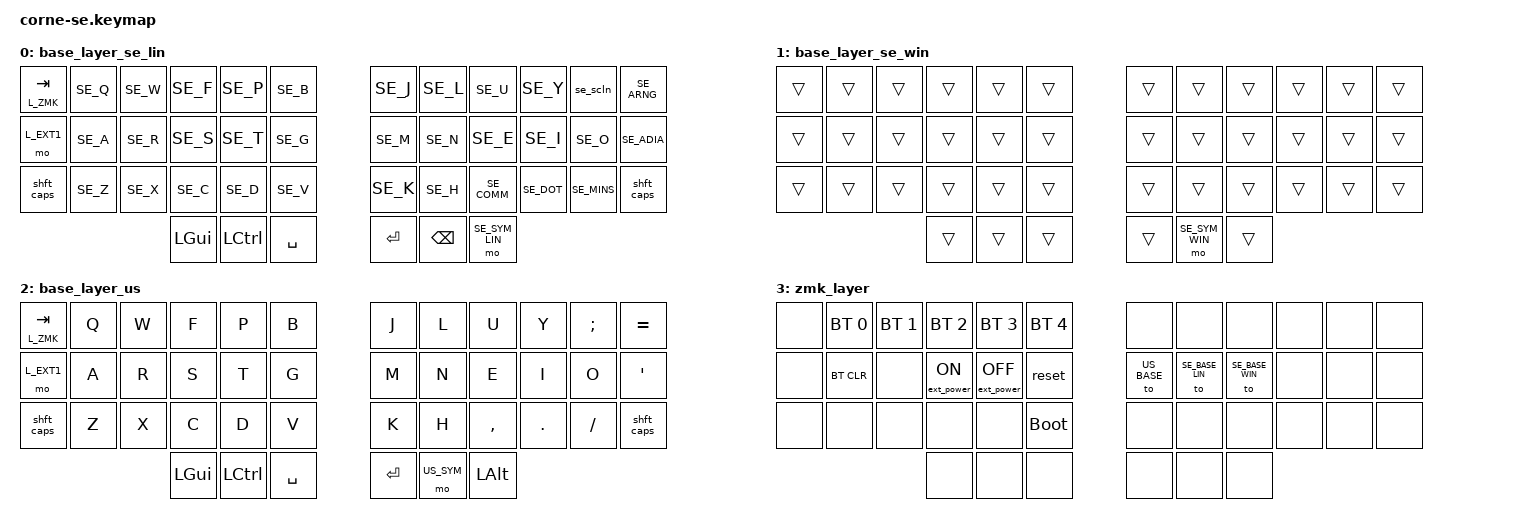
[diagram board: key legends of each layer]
/*
 * Copyright (c) 2020 The ZMK Contributors
 *
 * SPDX-License-Identifier: MIT
 *
 * Credits to https://github.com/bzgec/zmk-config
 *
 ***************************************************************************************************
 * Swedish Colemak-DH angle mode variation
 ***************************************************************************************************
 * Host layout: SE
 * Host layout: US (missing Å, Ä, Ö)
 *
 ***************************************************************************************************
 * Base layer:
 ***************************************************************************************************
 *  +--------+--------+--------+--------+--------+--------+             +--------+--------+--------+--------+--------+--------+
 *  | TAB    |  q  Q  |  w  W  |  f  F  |  p  P  |  b  B  |             |  j  J  |  l  L  |  u  U  |  y  Y  |  ö  Ö  |  å  Å  |
 *  +--------+--------+--------+--------+--------+--------+             +--------+--------+--------+--------+--------+--------+
 *  | EXT1   |  a  A  |  r  R  |  s  S  |  t  T  |  g  G  |             |  m  M  |  n  N  |  e  E  |  i  I  |  o  O  |  ä  Ä  |
 *  +--------+--------+--------+--------+--------+--------+             +--------+--------+--------+--------+--------+--------+
 *  | Shift  |  z  Z  |  x  X  |  c  C  |  d  D  |  v  V  |             |  k  K  |  h  H  |  ,  ;  |  .  :  |  -  _  | Shift  |
 *  +--------+--------+--------+----+---+----+---+----+---+----+   +----+---+----+---+----+---+----+--------+--------+--------+
 *                                  | Win    | Ctrl   | Space  |   | Enter  | SYM    | L Alt  |
 *                                  +--------+--------+--------+   +--------+--------+--------+
 *
 ***************************************************************************************************
 * Symbols layer:
 ***************************************************************************************************
 *  +--------+--------+--------+--------+--------+--------+             +--------+--------+--------+--------+--------+--------+
 *  | TAB    |  1  !  |  2  @  |  3  #  |  4  $  |  5  %  |             |  6  ^  |  7  &  |  8  *  |  9  (  |  0  )  |  -  _  |
 *  +--------+--------+--------+--------+--------+--------+             +--------+--------+--------+--------+--------+--------+
 *  | EXT2   |        |        |        |        |        |             |        |        |  €  °  |  [  {  |  ]  }  |  `  ~  |
 *  +--------+--------+--------+--------+--------+--------+             +--------+--------+--------+--------+--------+--------+
 *  | Shift  |        |        |        |        |        |             |        |        |        |        |  \  |  | Shift  |
 *  +--------+--------+--------+----+---+----+---+----+---+----+   +----+---+----+---+----+---+----+--------+--------+--------+
 *                                  | Win    | Ctrl   | Space  |   | Enter  | XXX    | L Alt  |
 *                                  +--------+--------+--------+   +--------+--------+--------+
 *
 ***************************************************************************************************
 * Extend layer 1:
 ***************************************************************************************************
 *  +--------+--------+--------+--------+--------+--------+             +--------+--------+--------+--------+--------+--------+
 *  | TAB    | ESC    | WhUp   | GoBack | GoFwd  |        |             | Home   | PgDn   | PgUp   | End    | Del    | Print  |
 *  +--------+--------+--------+--------+--------+--------+             +--------+--------+--------+--------+--------+--------+
 *  | XXX    | Back   | WhDown |        |        |        |             | Left   | Down   | Up     | Right  | Back   | ESC    |
 *  +--------+--------+--------+--------+--------+--------+             +--------+--------+--------+--------+--------+--------+
 *  | Shift  |        |        |        |        |        |             | Undo   | Redo   |        |        |        | Shift  |
 *  +--------+--------+--------+----+---+----+---+----+---+----+   +----+---+----+---+----+---+----+--------+--------+--------+
 *                                  | Win    | Ctrl   | Enter  |   | Enter  | EXT2   | L Alt  |
 *                                  +--------+--------+--------+   +--------+--------+--------+
 *
 ***************************************************************************************************
 * Extend layer 2:
 ***************************************************************************************************
 *  +--------+--------+--------+--------+--------+--------+             +--------+--------+--------+--------+--------+--------+
 *  | TAB    | F1     | F2     | F3     | F4     | F5     |             | F6     | F7     | F8     | F9     | F10    |        |
 *  +--------+--------+--------+--------+--------+--------+             +--------+--------+--------+--------+--------+--------+
 *  | XXX    |        |        |        |        |        |             | Vol    | Vol Dn | Vol Up | F11    | F12    |        |
 *  |        |        |        |        |        |        |             | Mute   |        |        |        |        |        |
 *  +--------+--------+--------+--------+--------+--------+             +--------+--------+--------+--------+--------+--------+
 *  | Shift  |        |        |        |        |        |             |        | Bri Dn | Bri Up |        |        | Shift  |
 *  +--------+--------+--------+----+---+----+---+----+---+----+   +----+---+----+---+----+---+----+--------+--------+--------+
 *                                  | Win    | Ctrl   | Enter  |   | Enter  | XXX    | L Alt  |
 *                                  +--------+--------+--------+   +--------+--------+--------+
 *
 ***************************************************************************************************
 * ZMK layer:
 ***************************************************************************************************
 *  +--------+--------+--------+--------+--------+--------+             +--------+--------+--------+--------+--------+--------+
 *  | XXX    | BT 0   | BT 1   | BT 2   | BT 3   | BT 4   |             |        |        |        |        |        |        |
 *  +--------+--------+--------+--------+--------+--------+             +--------+--------+--------+--------+--------+--------+
 *  |        | BT CLR |        | EP ON  | EP OFF | Reset  |             | To US  | To SE  | To SE  |        |        |        |
 *  |        |        |        |        |        |        |             |        | Linux  | Win    |        |        |        |
 *  +--------+--------+--------+--------+--------+--------+             +--------+--------+--------+--------+--------+--------+
 *  |        |        |        |        |        | Bootl  |             |        |        |        |        |        |        |
 *  +--------+--------+--------+----+---+----+---+----+---+----+   +----+---+----+---+----+---+----+--------+--------+--------+
 *                                  |        |        |        |   |        |        |        |
 *                                  +--------+--------+--------+   +--------+--------+--------+
 *
 * - `BT 0-4`: Select the x bluetooth profile
 * - `BT CLR`: Clear bond between the keyboard and the host for the selected profile
 * - `Reset`: Reset this side of the keyboard
 * - `Bootl`: Reset this side of the keyboard to bootloader mode
 * - `EP ON`: Enable external power (enable VCC power output)
 * - `To US`: Switch keyboard layout to match US host layout
 * - `To SE Linux`: Switch keyboard layout to match SE host layout, Linux host
 * - `To SE Win`: Switch keyboard layout to match SE host layout, Windows host
 * - `EP OFF`: Disable external power (disable VCC power output)
 *
 ***************************************************************************************************
 * Notes:
 ***************************************************************************************************
 * - EXT2 layer is accessible when pressing: 'EXT' + 'SYM'
 * - ZMK layer is accessible when holding TAB key
 * - Double tap on SHIFT key toggles CAPS_LOCK
 * - Difference between "SE Linux" and "SE Windows" is in how a few special characters
 *   are implemented but for the end use there should be no difference
 *
 *   - `se_n6_lin`    -> `se_n6_win` (`^`)
 *   - `se_grave_lin` -> `se_grave_win` (`\``, `~`)
 *
 */

#include <behaviors.dtsi>
#include <dt-bindings/zmk/keys.h>
#include <dt-bindings/zmk/bt.h>
#include <dt-bindings/zmk/ext_power.h>
#include "keys_se.h"

#define xxx &none
#define ___ &trans

#define SE_BASE_LIN 0  // Base layer, host layout: SE, Linux host
#define SE_BASE_WIN 1  // Base layer, host layout: SE, Windows host
#define US_BASE     2  // Base layer, host layout: US
#define SE_SYM_LIN  3  // Symbols layer, host layout: SE, Linux host
#define SE_SYM_WIN  4  // Symbols layer, host layout: SE, Windows host
#define US_SYM      5  // Symbols layer, host layout: US
#define L_EXT1      6  // Extend layer 1
#define L_EXT2      7  // Extend layer 2
#define L_ZMK       8  // ZMK layer

// Go to ZMK layer when holding TAB key
// On tap: TAB
// On hold: L_ZMK (ZMK layer)
#define TAB_L_ZMK  &lt L_ZMK TAB

// https://zmk.dev/docs/features/debouncing
&kscan0 {
    debounce-press-ms = <1>;    // Default is 5 ms
    debounce-release-ms = <4>;  // Default is 5 ms
};

/ {

    behaviors {
        #include "behaviors_mod_morph.dtsi"

        shft_caps: tap_dance_shift_caps_lock_toggle {
            compatible = "zmk,behavior-tap-dance";
            label = "TAB_DANCE_SHIFT_CAPS_LOCK_TOGGLE";
            #binding-cells = <0>;
            tapping-term-ms = <200>;
            bindings = <&kp LSHFT>, <&kp CAPS>;
        };
    };
    
    keymap {
        compatible = "zmk,keymap";

base_layer_se_lin {
// -----------------------------------------------------------------------------------------
// | TAB  |  Q  |  W  |  F  |  P   |  B  |    |  J  |  L   |  U  |  Y  |  Ö  |  Å   |
// | EXT1 |  A  |  R  |  S  |  T   |  G  |    |  M  |  N   |  E  |  I  |  O  |  Ä   |
// | SHFT |  Z  |  X  |  C  |  D   |  V  |    |  K  |  H   | , ; | . : | - _ | SHFT |
//                    | GUI | CTRL | SPC |    | ENT | SYM  | ALT |
            bindings = <
   TAB_L_ZMK  &kp SE_Q &kp SE_W &kp SE_F &kp SE_P  &kp SE_B    &kp SE_J &kp SE_L       &kp SE_U    &kp SE_Y   &se_scln     &kp SE_ARNG
   &mo L_EXT1 &kp SE_A &kp SE_R &kp SE_S &kp SE_T  &kp SE_G    &kp SE_M &kp SE_N       &kp SE_E    &kp SE_I   &kp SE_O     &kp SE_ADIA
   &shft_caps &kp SE_Z &kp SE_X &kp SE_C &kp SE_D  &kp SE_V    &kp SE_K &kp SE_H       &kp SE_COMM &kp SE_DOT &kp SE_MINS &shft_caps
                                &kp LGUI &kp LCTRL &kp SPACE   &kp RET  &kp BACKSPACE  &mo SE_SYM_LIN
            >;
        };

        base_layer_se_win {
            bindings = <
   ___ ___ ___ ___ ___ ___   ___ ___            ___ ___ ___ ___
   ___ ___ ___ ___ ___ ___   ___ ___            ___ ___ ___ ___
   ___ ___ ___ ___ ___ ___   ___ ___            ___ ___ ___ ___
               ___ ___ ___   ___ &mo SE_SYM_WIN ___
            >;
        };


        base_layer_us {
// -----------------------------------------------------------------------------------------
// | TAB  |  Q  |  W  |  F  |  P   |  B  |    |  J  |  L   |  U  |  Y  | ; : | = +  |
// | EXT1 |  A  |  R  |  S  |  T   |  G  |    |  M  |  N   |  E  |  I  |  O  | ' "  |
// | SHFT |  Z  |  X  |  C  |  D   |  V  |    |  K  |  H   | , < | . > | / ? | SHFT |
//                    | GUI | CTRL | SPC |    | ENT | SYM  | ALT |
            bindings = <
   TAB_L_ZMK  &kp Q &kp W &kp F    &kp P     &kp B       &kp J   &kp L      &kp U     &kp Y   &kp SEMI &kp EQUAL
   &mo L_EXT1 &kp A &kp R &kp S    &kp T     &kp G       &kp M   &kp N      &kp E     &kp I   &kp O    &kp SQT
   &shft_caps &kp Z &kp X &kp C    &kp D     &kp V       &kp K   &kp H      &kp COMMA &kp DOT &kp FSLH &shft_caps
                          &kp LGUI &kp LCTRL &kp SPACE   &kp RET &mo US_SYM &kp LALT
            >;
        };

        zmk_layer {
// -----------------------------------------------------------------------------------------
// | XXX  | BT 0  | BT 1   | BT 2   | BT 3   | BT 4   |        |       |           |           |      |      |      |
// |      | BTCLR |        | EP ON  | EP OFF | Reset  |        | To US | To SE WIN | To SE WIN |      |      |      |
// |      |       |        |        |        | Bootl  |        |       |           |           |      |      |      |
//                         |        |        |        |        |       |           |           |
            bindings = <
   xxx &bt BT_SEL 0 &bt BT_SEL 1 &bt BT_SEL 2     &bt BT_SEL 3      &bt BT_SEL 4     xxx         xxx             xxx             xxx xxx xxx
   xxx &bt BT_CLR   xxx          &ext_power EP_ON &ext_power EP_OFF &reset           &to US_BASE &to SE_BASE_LIN &to SE_BASE_WIN xxx xxx xxx
   xxx xxx          xxx          xxx              xxx               &bootloader      xxx         xxx             xxx             xxx xxx xxx
                                 xxx              xxx               xxx              xxx         xxx             xxx
            >;
        };
    };
};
